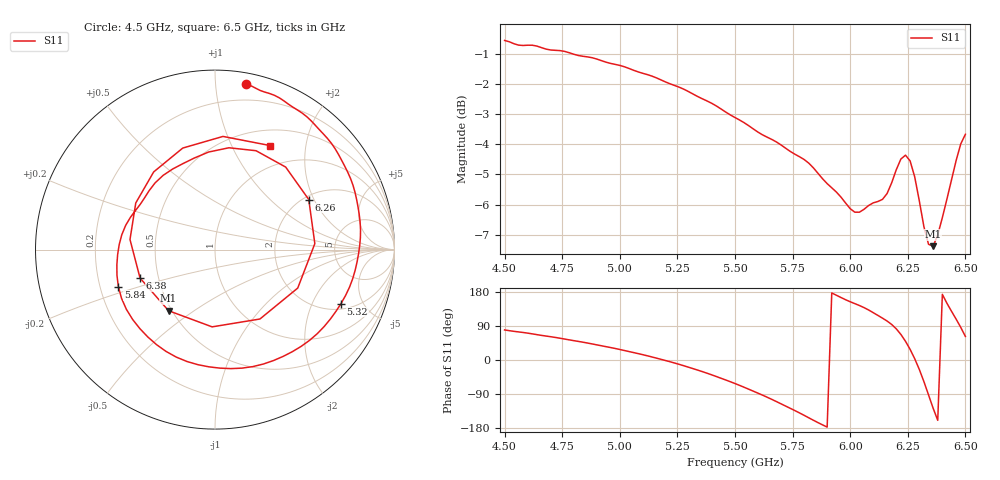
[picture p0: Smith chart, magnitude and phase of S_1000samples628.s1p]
! TOUCHSTONE file generated by CST MICROWAVE STUDIO
! Date and time: Fri Oct 28 19:59:24 2022
! Project name: L.cst
! Parameters = {Di=1.27; Epsilon_r=1.56; InnerDiameter=1.27; Length=2; Lf=10; Lg=60; OuterConductorThickness=0.2921; OuterDiameter=3.6; Wf=3; Wp=41.2; de=1.5; df=6.8; g=0.8; gx=2.99967; gy=2.27596; h=2.34; hf=1.524; px=10.7878; py=13.1662; w=9.7; wx=7.78811; wy=10.8902}
! Header version: 2018
! Port assignment regex: !\s*Touchstone port\s*([0-9]+)\s*=\s*(CST MWS port|CST DS port)\s*([0-9]+|Zmin|Zmax)\s*\(\"(.*)\"\)(\s*mode\s*([0-9]+))?.*
! Touchstone port assignment:
! Touchstone port 1 = CST MWS port 1 ("")
# GHz S DB R 50
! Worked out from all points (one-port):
!   101 points, 4.5 GHz to 6.5 GHz, reference 50 ohm
!   lowest |S11| = -7.4 dB at 6.36 GHz (marker M1), VSWR 2.49, Z = 24 - j20 ohm
!   |S11| at or under -10 dB: nowhere
!   S11 on the Smith chart (normalised r, x): 4.5 GHz: 0.08, +1.20; 5.32 GHz: 2.32, -3.36; 5.84 GHz: 0.28, -0.17; 6.26 GHz: 2.12, +1.82; 6.38 GHz: 0.39, -0.16; 6.5 GHz: 0.70, +1.42
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4.5  -0.55 79.3
4.76  -0.92 55.3
5  -1.38 27.8
5.14  -1.74 7.9
5.26  -2.11 -11.9
5.32  -2.34 -23.2
5.5  -3.11 -62.1
5.64  -3.76 -98.3
5.76  -4.33 -133.5
5.84  -4.78 -158.9
5.92  -5.44 177.0
6  -6.13 153.7
6.1  -5.94 124.9
6.16  -5.63 102.8
6.2  -4.84 82.2
6.22  -4.49 67.5
6.24  -4.36 49.4
6.26  -4.55 28.1
6.28  -5.08 3.4
6.3  -5.88 -24.9
6.32  -6.73 -57.1
6.34  -7.32 -92.1
6.36  -7.38 -127.2
6.38  -7.00 -159.2
6.4  -6.43 173.2
6.44  -5.17 128.3
6.48  -3.98 86.0
6.5  -3.67 62.2
